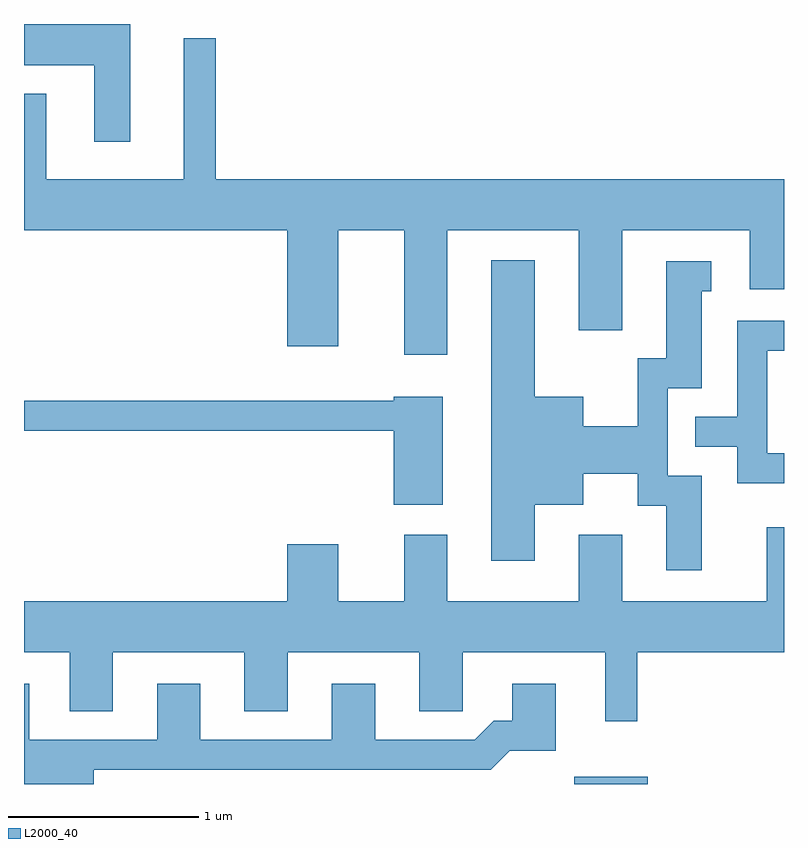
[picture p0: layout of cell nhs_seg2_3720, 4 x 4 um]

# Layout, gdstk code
import gdstk
lib = gdstk.Library(unit=1e-6, precision=1e-09)
def R(c, l, rs):  # rectangles x0, y0, x1, y1
    for r in rs: c.add(gdstk.rectangle(r[:2], r[2:], *l))
def P(c, l, *ps):  # polygons
    for p in ps: c.add(gdstk.Polygon(p, *l))
L2000_40 = (2000, 40)

nhs_seg2_3720 = lib.new_cell('nhs_seg2_3720')
R(nhs_seg2_3720, L2000_40, [(296.506,1089.802,296.894,1089.839)])
P(nhs_seg2_3720, L2000_40, [(294.169,1093.802),(293.611,1093.802),(293.611,1093.586),(293.981,1093.586),(293.981,1093.181),(294.169,1093.181)],
  [(295.839,1092.716),(296.531,1092.716),(296.531,1092.191),(296.759,1092.191),(296.759,1092.716),(297.431,1092.716),(297.431,1092.406),(297.611,1092.406),(297.611,1092.984),(294.619,1092.984),(294.619,1093.728),(294.451,1093.728),(294.451,1092.984),(293.729,1092.984),(293.729,1093.434),(293.611,1093.434),(293.611,1092.716),(294.996,1092.716),(294.996,1092.106),(295.264,1092.106),(295.264,1092.716),(295.611,1092.716),(295.611,1092.061),(295.839,1092.061)],
  [(297.179,1091.424),(296.999,1091.424),(296.999,1091.886),(297.179,1091.886),(297.179,1092.396),(297.228,1092.396),(297.228,1092.554),(296.991,1092.554),(296.991,1092.044),(296.841,1092.044),(296.841,1091.684),(296.554,1091.684),(296.554,1091.839),(296.299,1091.839),(296.299,1092.559),(296.071,1092.559),(296.071,1090.976),(296.299,1090.976),(296.299,1091.271),(296.554,1091.271),(296.554,1091.436),(296.841,1091.436),(296.841,1091.266),(296.991,1091.266),(296.991,1090.926),(297.179,1090.926)],
  [(297.611,1091.544),(297.524,1091.544),(297.524,1092.081),(297.611,1092.081),(297.611,1092.239),(297.366,1092.239),(297.366,1091.734),(297.143,1091.734),(297.143,1091.576),(297.366,1091.576),(297.366,1091.386),(297.611,1091.386)],
  [(295.814,1091.839),(295.556,1091.839),(295.556,1091.819),(293.611,1091.819),(293.611,1091.661),(295.556,1091.661),(295.556,1091.271),(295.814,1091.271)],
  [(294.996,1091.064),(294.996,1090.764),(293.611,1090.764),(293.611,1090.496),(293.851,1090.496),(293.851,1090.186),(294.079,1090.186),(294.079,1090.496),(294.771,1090.496),(294.771,1090.186),(294.999,1090.186),(294.999,1090.496),(295.691,1090.496),(295.691,1090.186),(295.919,1090.186),(295.919,1090.496),(296.671,1090.496),(296.671,1090.133),(296.839,1090.133),(296.839,1090.496),(297.611,1090.496),(297.611,1091.154),(297.521,1091.154),(297.521,1090.764),(296.759,1090.764),(296.759,1091.114),(296.531,1091.114),(296.531,1090.764),(295.839,1090.764),(295.839,1091.114),(295.611,1091.114),(295.611,1090.764),(295.264,1090.764),(295.264,1091.064)],
  [(293.979,1089.876),(296.067,1089.876),(296.167,1089.976),(296.409,1089.976),(296.409,1090.329),(296.181,1090.329),(296.181,1090.134),(296.084,1090.134),(295.984,1090.034),(295.459,1090.034),(295.459,1090.329),(295.231,1090.329),(295.231,1090.034),(294.539,1090.034),(294.539,1090.329),(294.311,1090.329),(294.311,1090.034),(293.639,1090.034),(293.639,1090.329),(293.611,1090.329),(293.611,1089.802),(293.979,1089.802)])

lib.write_gds('nhs_seg2_3720.gds')
